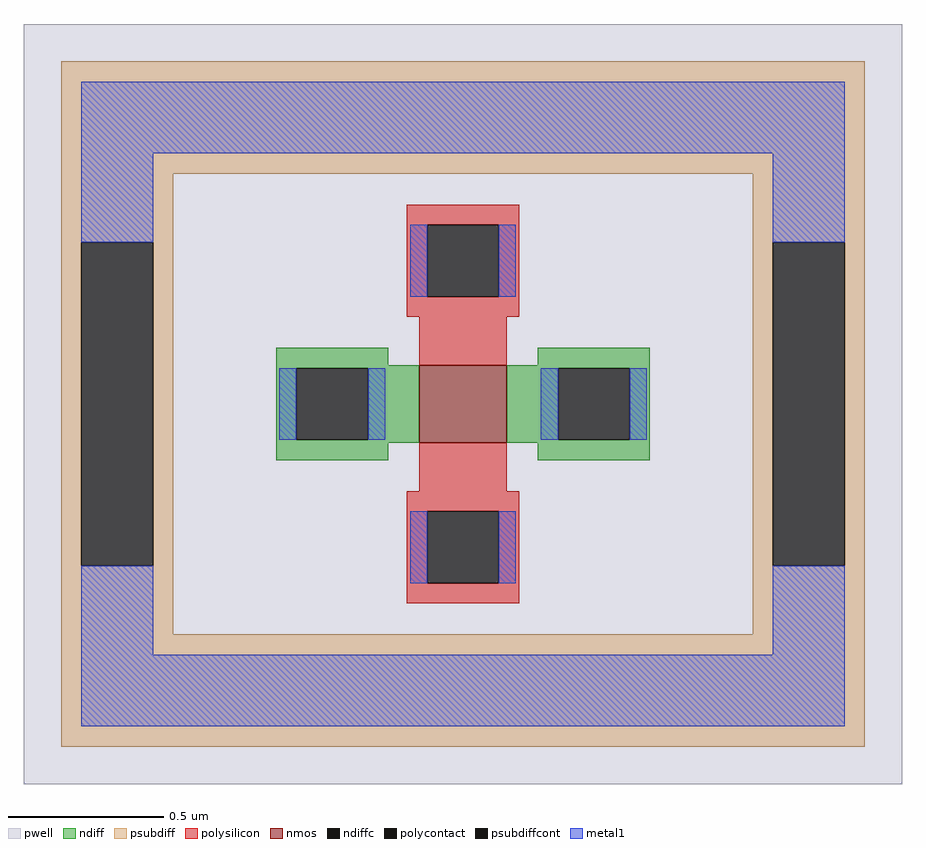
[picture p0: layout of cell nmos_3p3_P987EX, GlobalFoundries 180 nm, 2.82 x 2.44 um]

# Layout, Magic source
magic
tech gf180mcuC
magscale 1 10
<< pwell >>
rect -282 -244 282 244
<< nmos >>
rect -28 -25 28 25
<< ndiff >>
rect -120 25 -48 36
rect 48 25 120 36
rect -120 23 -28 25
rect -120 -23 -107 23
rect -61 -23 -28 23
rect -120 -25 -28 -23
rect 28 23 120 25
rect 28 -23 61 23
rect 107 -23 120 23
rect 28 -25 120 -23
rect -120 -36 -48 -25
rect 48 -36 120 -25
<< ndiffc >>
rect -107 -23 -61 23
rect 61 -23 107 23
<< psubdiff >>
rect -258 148 258 220
rect -258 104 -186 148
rect -258 -104 -245 104
rect -199 -104 -186 104
rect 186 104 258 148
rect -258 -148 -186 -104
rect 186 -104 199 104
rect 245 -104 258 104
rect 186 -148 258 -104
rect -258 -220 258 -148
<< psubdiffcont >>
rect -245 -104 -199 104
rect 199 -104 245 104
<< polysilicon >>
rect -36 115 36 128
rect -36 69 -23 115
rect 23 69 36 115
rect -36 56 36 69
rect -28 25 28 56
rect -28 -56 28 -25
rect -36 -69 36 -56
rect -36 -115 -23 -69
rect 23 -115 36 -69
rect -36 -128 36 -115
<< polycontact >>
rect -23 69 23 115
rect -23 -115 23 -69
<< metal1 >>
rect -245 161 245 207
rect -245 104 -199 161
rect -34 69 -23 115
rect 23 69 34 115
rect 199 104 245 161
rect -118 -23 -107 23
rect -61 -23 -50 23
rect 50 -23 61 23
rect 107 -23 118 23
rect -245 -161 -199 -104
rect -34 -115 -23 -69
rect 23 -115 34 -69
rect 199 -161 245 -104
rect -245 -207 245 -161
<< properties >>
string FIXED_BBOX -222 -184 222 184
string gencell nmos_3p3
string library gf180mcu
string parameters w 0.250 l 0.280 m 1 nf 1 diffcov 100 polycov 100 guard 1 glc 1 grc 1 gtc 0 gbc 0 tbcov 100 rlcov 100 topc 1 botc 1 poverlap 0 doverlap 1 lmin 0.28 wmin 0.22 full_metal 1 compatible {nmos_3p3 nmos_6p0 nmos_6p0_nat}
<< end >>
